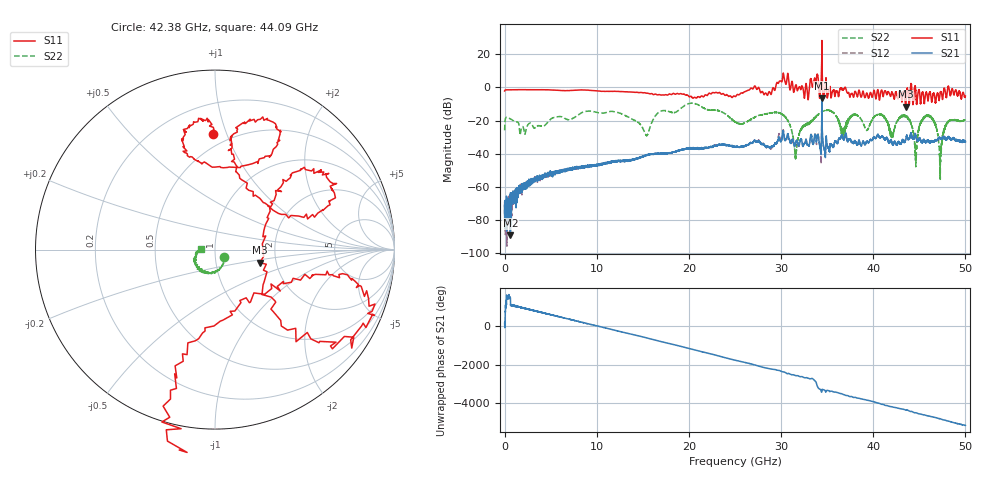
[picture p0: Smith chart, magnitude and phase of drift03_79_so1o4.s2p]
!Created with skrf (http://scikit-rf.org).
# Hz S RI R 50.0
!freq ReS11 ImS11 ReS21 ImS21 ReS12 ImS12 ReS22 ImS22
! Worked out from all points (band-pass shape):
!   10000 points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, 5.3 MHz to 50 GHz, reference 50 ohm
!   highest |S21| = -6.50 dB at 34.43 GHz (marker M1); lowest = -89.2 dB at 640.3 MHz (marker M2)
!   |S21| within 3 dB of the highest: 34.42745 GHz to 34.43493 GHz (7.485 MHz wide, 0.0217 % of centre)
!   lowest |S11| = -11.7 dB at 43.53 GHz (marker M3), VSWR 1.70, Z = 82 - j12.9 ohm
!   |S11| at or under -10 dB: 43.48517 GHz to 43.54552 GHz (60.35 MHz wide, 0.139 % of centre); 43.9195 GHz to 43.92021 GHz (709.1 kHz wide, 0.00161 % of centre); 44.30954 GHz to 44.31683 GHz (7.291 MHz wide, 0.0165 % of centre) (the widest 3 of 4)
!   |S22| runs from -55.5 to -9.5 dB; largest |S21 - S12| = 0.15
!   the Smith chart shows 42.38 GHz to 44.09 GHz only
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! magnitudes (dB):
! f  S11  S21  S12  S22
! 5.3 MHz  -2.1  -75.9  -69.0  -25.9
! 640.3 MHz  -1.4  -89.2  -71.3  -19.0
! 8.34 GHz  -1.5  -47.9  -47.8  -15.3
! 12.46 GHz  -2.4  -44.6  -44.4  -15.4
! 15.4 GHz  -3.4  -41.1  -40.9  -29.0
! 16.67 GHz  -4.4  -39.9  -40.0  -15.3
! 20.47 GHz  -6.5  -36.5  -36.8  -9.5
! 25.01 GHz  -5.5  -36.1  -35.8  -20.8
! 29.92 GHz  3.9  -32.4  -31.7  -15.5
! 31.59 GHz  1.4  -33.7  -33.9  -42.8
! 33.34 GHz  2.6  -30.4  -30.5  -20.0
! 34.43 GHz  28.4  -6.5  -8.7  -14.5
! 36.71 GHz  -1.4  -30.3  -30.2  -27.7
! 37.95 GHz  -3.8  -32.8  -32.6  -16.1
! 41.67 GHz  -2.8  -33.3  -33.3  -22.9
! 43.53 GHz  -11.7  -31.1  -31.3  -17.4
! 44.62 GHz  -2.2  -29.2  -29.4  -47.1
! 45.27 GHz  -3.9  -33.4  -33.4  -20.3
! 46.22 GHz  -3.7  -33.0  -33.1  -17.6
! 47.29 GHz  -3.0  -31.0  -30.7  -44.5
! 48.14 GHz  0.8  -29.9  -29.9  -20.6
! 50 GHz  -5.2  -33.0  -32.5  -19.6
